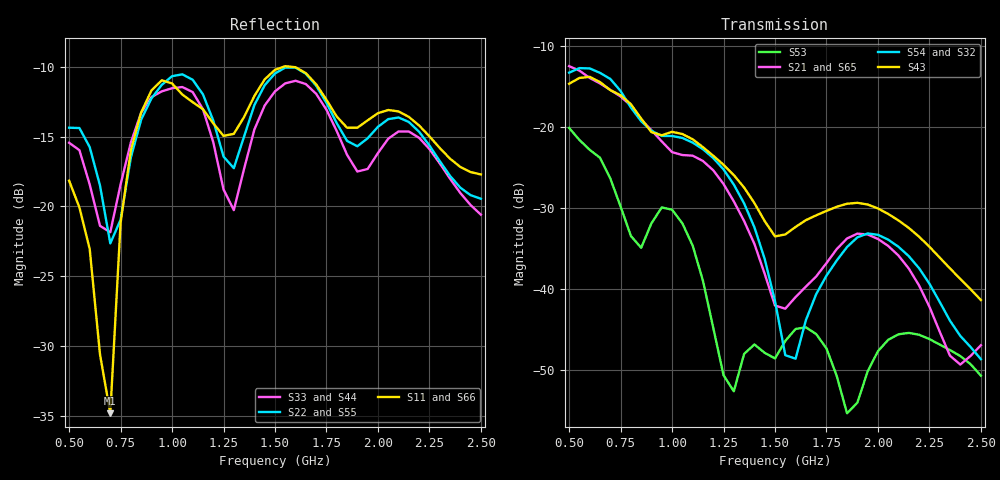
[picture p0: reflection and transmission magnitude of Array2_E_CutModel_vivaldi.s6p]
! Touchstone file exported from HFSS 2023.2.0
!  File:  C:/Users/aapoi/Documents/Escuela/Maestria/EMT/HFSS/Array2_E_CutModel_vivaldi.aedt
!  Generated:  2:45:25 PM  Aug 25, 2025
!  Design:  HFSSDesign1
!  Project:  Array2_E_CutModel_vivaldi
!  Setup:  Setup1
!  Solution:  Sweep
! Variables:
!  $Bladder_Full_X_Shift = 2.5cm
!  $Bladder_Full_Z_Shift = 3cm
!  $Bladder_shift_from_PB = 35mm
!  $Pubic_Bone_Angle = 55deg
!  $ant_bottom_shift = 25mm
!  $ant_rot = 18.5deg
!  $ant_spacing = 20mm
!  $ant_sweep_shift = 5mm
!  $anteposterior_diameter = 10.49cm
!  $axial_bladder_diam = 44mm
!  $back_pelvic_bone_height = 0.1125meter
!  $back_pelvic_bone_rectangle_Xshift = 64.3578981445632mm
!  $backset = 0mm
!  $bladder_wall_thickness = 3.15mm
!  $body_axial_ratio = 1.59973110444618
!  $body_major_rad = 10.6361cm
!  $body_minor_rad = 17.0149cm
!  $center_bladder_rad = 0.073838504391812meter
!  $coccyx_thickness = -15.5mm
!  $coccyx_tip_width = 10mm
!  $cone_angle_sacrococcyx = 33.56deg
!  $coronal_bladder_diam = 37mm
!  $end_u = 450deg
!  $end_v = 270deg
!  $fat_thickness = 13.5031018554368mm
!  $front_pelvic_bone_height = 55mm
!  $horizontal_shift = 40mm
!  $horizontal_spacing = 50mm
!  $mix_major_rad = 0.0808578981445632meter
!  $model_height = 0.15meter
!  $muscle_thickness = 0.01meter
!  $pelvis_angle = 55deg
!  $pubic_bone_thickness = 16.5mm
!  $rad_curve_back_bones = 89.2mm
!  $sacrum_top_width = 88mm
!  $sagittal_bladder_diam = 35mm
!  $side_ant_offset = -5.44mm
!  $skin_thickness = 0.002meter
!  $start_u = 90deg
!  $start_v = 90deg
!  $striaght_sacrococcyx_length = 126mm
!  $transverse_diameter = 13cm
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# GHz S MA R 50.000000
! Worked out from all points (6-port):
!   41 points, 500 MHz to 2.5 GHz, reference 50 ohm
!   strongest paths, dB at 500 MHz, 1 GHz, 1.5 GHz, 2 GHz, 2.5 GHz:
!     S43: -14.7, -20.6, -33.5, -30.0, -41.3
!     S54: -13.3, -21.1, -41.4, -33.3, -48.6
!     S32: -13.3, -21.1, -41.4, -33.3, -48.6
!     S21: -12.5, -23.1, -42.0, -33.8, -46.9
!     S65: -12.5, -23.1, -42.0, -33.8, -46.9
!     S53: -20.1, -30.2, -48.5, -47.6, -50.6
!   lowest |S11| = -34.8 dB at 700 MHz (marker M1), VSWR 1.04, Z = 50.6 + j1.74 ohm
!   |S11| at or under -10 dB: start of sweep to 1.541 GHz; 1.582 GHz to end of sweep
